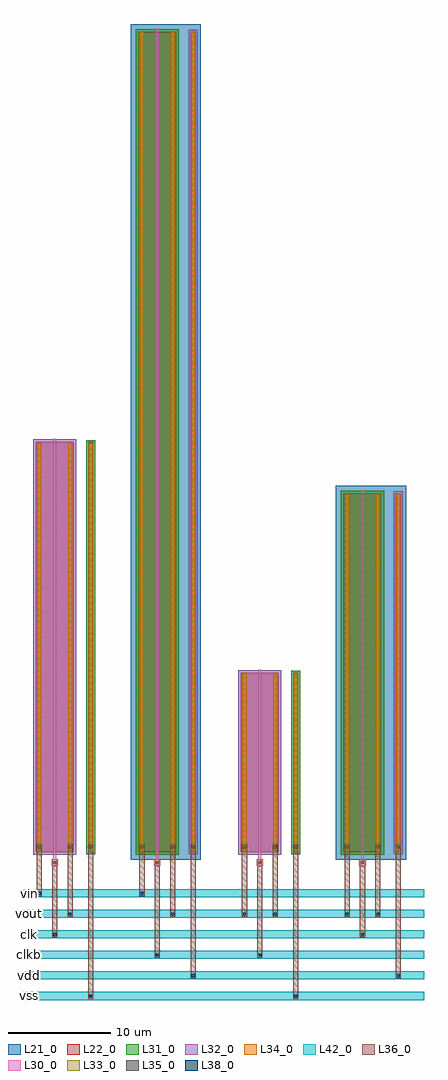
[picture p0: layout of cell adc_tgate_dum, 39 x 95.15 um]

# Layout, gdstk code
import gdstk
lib = gdstk.Library(unit=1e-6, precision=1e-09)
def R(c, l, rs):  # rectangles x0, y0, x1, y1
    for r in rs: c.add(gdstk.rectangle(r[:2], r[2:], *l))
def A(c, l, x, y, w, h, nx, ny, dx, dy):  # array of equal rectangles
    R(c, l, [(x+i*dx, y+j*dy, x+i*dx+w, y+j*dy+h) for i in range(nx) for j in range(ny)])
L21_0 = (21, 0)
L22_0 = (22, 0)
L30_0 = (30, 0)
L31_0 = (31, 0)
L32_0 = (32, 0)
L33_0 = (33, 0)
L34_0 = (34, 0)
L35_0 = (35, 0)
L36_0 = (36, 0)
L38_0 = (38, 0)
L42_0 = (42, 0)

adc_tgate_dum = lib.new_cell('adc_tgate_dum')
R(adc_tgate_dum, L21_0, [(9.4,-0.75,16.25,80.75), (29.4,-0.75,36.25,35.75)])
R(adc_tgate_dum, L22_0, [(0.15,0,3.85,40), (5.25,0,5.75,40), (10.15,0,13.85,80), (15.25,0,15.75,80), (20.15,0,23.85,17.5), (25.25,0,25.75,17.5), (30.15,0,33.85,35), (35.25,0,35.75,35)])
A(adc_tgate_dum, L30_0, 1.75, -1.35, 0.5, 0.7, 4, 1, 10, 0)
R(adc_tgate_dum, L30_0, [(1.86,-1.4,2.14,40.3), (11.86,-1.4,12.14,80.3), (21.86,-1.4,22.14,17.8), (31.86,-1.4,32.14,35.3)])
R(adc_tgate_dum, L31_0, [(9.9,-0.25,14.1,80.25), (29.9,-0.25,34.1,35.25), (5.07,-0.18,5.93,40.18), (25.07,-0.18,25.93,17.68)])
R(adc_tgate_dum, L32_0, [(-0.1,-0.25,4.1,40.25), (19.9,-0.25,24.1,17.75), (15.07,-0.18,15.93,80.18), (35.07,-0.18,35.93,35.18)])
A(adc_tgate_dum, L33_0, 1.89, -1.11, 0.22, 0.22, 4, 1, 10, 0)
A(adc_tgate_dum, L33_0, 0.39, 0.19, 0.22, 0.22, 1, 66, 0, 0.6)
A(adc_tgate_dum, L33_0, 3.39, 0.19, 0.22, 0.22, 1, 66, 0, 0.6)
A(adc_tgate_dum, L33_0, 5.39, 0.19, 0.22, 0.22, 1, 66, 0, 0.6)
A(adc_tgate_dum, L33_0, 10.39, 0.19, 0.22, 0.22, 1, 133, 0, 0.6)
A(adc_tgate_dum, L33_0, 13.39, 0.19, 0.22, 0.22, 1, 133, 0, 0.6)
A(adc_tgate_dum, L33_0, 15.39, 0.19, 0.22, 0.22, 1, 133, 0, 0.6)
A(adc_tgate_dum, L33_0, 20.39, 0.19, 0.22, 0.22, 1, 29, 0, 0.6)
A(adc_tgate_dum, L33_0, 23.39, 0.19, 0.22, 0.22, 1, 29, 0, 0.6)
A(adc_tgate_dum, L33_0, 25.39, 0.19, 0.22, 0.22, 1, 29, 0, 0.6)
A(adc_tgate_dum, L33_0, 30.39, 0.19, 0.22, 0.22, 1, 58, 0, 0.6)
A(adc_tgate_dum, L33_0, 33.39, 0.19, 0.22, 0.22, 1, 58, 0, 0.6)
A(adc_tgate_dum, L33_0, 35.39, 0.19, 0.22, 0.22, 1, 58, 0, 0.6)
A(adc_tgate_dum, L34_0, 1.7, -1.3, 0.6, 0.6, 4, 1, 10, 0)
R(adc_tgate_dum, L34_0, [(0.3,0.1,0.7,39.9), (3.3,0.1,3.7,39.9), (5.3,0.1,5.7,39.9), (10.3,0.1,10.7,79.9), (13.3,0.1,13.7,79.9), (15.3,0.1,15.7,79.9), (20.3,0.1,20.7,17.4), (23.3,0.1,23.7,17.4), (25.3,0.1,25.7,17.4), (30.3,0.1,30.7,34.9), (33.3,0.1,33.7,34.9), (35.3,0.1,35.7,34.9)])
A(adc_tgate_dum, L35_0, 1.87, -1.13, 0.26, 0.26, 4, 1, 10, 0)
R(adc_tgate_dum, L35_0, [(0.37,0.37,0.63,0.63), (3.37,0.37,3.63,0.63), (5.37,0.37,5.63,0.63), (10.37,0.37,10.63,0.63), (13.37,0.37,13.63,0.63), (15.37,0.37,15.63,0.63), (20.37,0.37,20.63,0.63), (23.37,0.37,23.63,0.63), (25.37,0.37,25.63,0.63), (30.37,0.37,30.63,0.63), (33.37,0.37,33.63,0.63), (35.37,0.37,35.63,0.63)])
R(adc_tgate_dum, L36_0, [(5.25,-14.3,5.75,0.8), (25.25,-14.3,25.75,0.8), (15.25,-12.3,15.75,0.8), (35.25,-12.3,35.75,0.8), (11.75,-10.3,12.25,-0.7), (21.75,-10.3,22.25,-0.7), (1.75,-8.3,2.25,-0.7), (31.75,-8.3,32.25,-0.7), (3.25,-6.3,3.75,0.8), (13.25,-6.3,13.75,0.8), (20.25,-6.3,20.75,0.8), (23.25,-6.3,23.75,0.8), (30.25,-6.3,30.75,0.8), (33.25,-6.3,33.75,0.8), (0.25,-4.3,0.75,0.8), (10.25,-4.3,10.75,0.8)])
R(adc_tgate_dum, L38_0, [(5.37,-14.13,5.63,-13.87), (25.37,-14.13,25.63,-13.87), (15.37,-12.13,15.63,-11.87), (35.37,-12.13,35.63,-11.87), (11.87,-10.13,12.13,-9.87), (21.87,-10.13,22.13,-9.87), (1.87,-8.13,2.13,-7.87), (31.87,-8.13,32.13,-7.87), (3.37,-6.13,3.63,-5.87), (13.37,-6.13,13.63,-5.87), (20.37,-6.13,20.63,-5.87), (23.37,-6.13,23.63,-5.87), (30.37,-6.13,30.63,-5.87), (33.37,-6.13,33.63,-5.87), (0.37,-4.13,0.63,-3.87), (10.37,-4.13,10.63,-3.87)])
A(adc_tgate_dum, L42_0, -1, -14.4, 39, 0.8, 1, 6, 0, 2)
adc_tgate_dum.add(gdstk.Label('vin', (-0.5,-4), layer=42, texttype=10))
adc_tgate_dum.add(gdstk.Label('vout', (-0.5,-6), layer=42, texttype=10))
adc_tgate_dum.add(gdstk.Label('clk', (-0.5,-8), layer=42, texttype=10))
adc_tgate_dum.add(gdstk.Label('clkb', (-0.5,-10), layer=42, texttype=10))
adc_tgate_dum.add(gdstk.Label('vdd', (-0.5,-12), layer=42, texttype=10))
adc_tgate_dum.add(gdstk.Label('vss', (-0.5,-14), layer=42, texttype=10))

lib.write_gds('adc_tgate_dum.gds')
